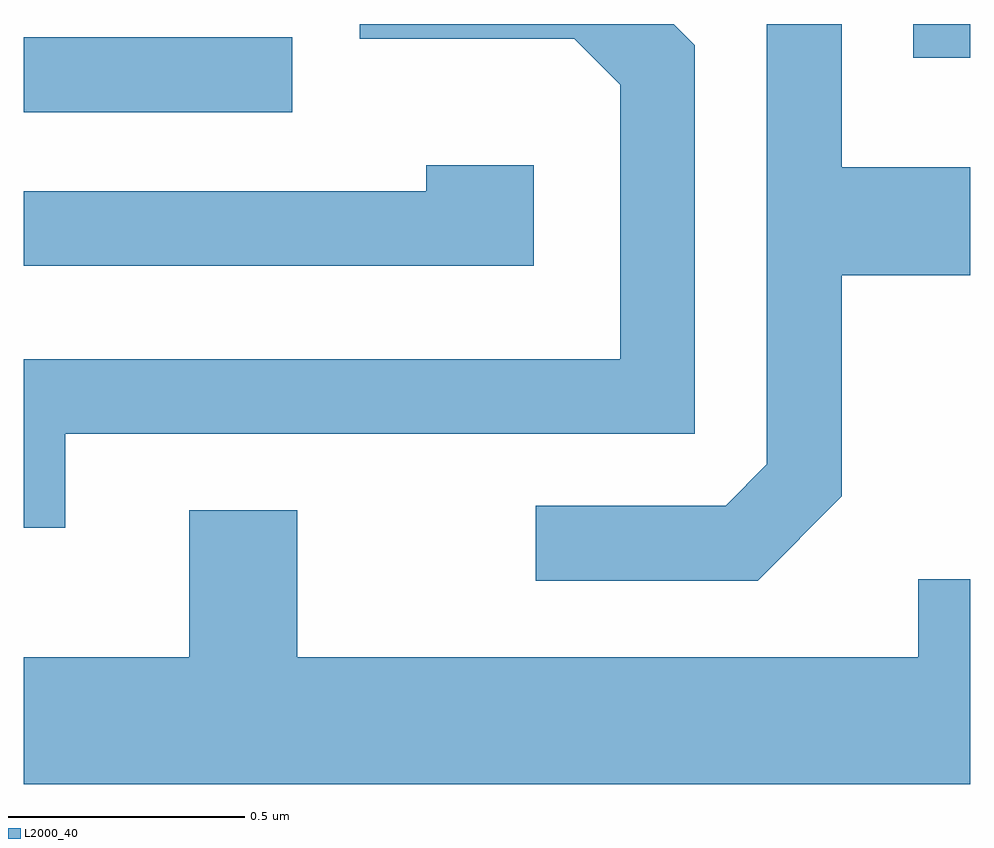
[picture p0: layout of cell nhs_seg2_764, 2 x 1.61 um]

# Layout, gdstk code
import gdstk
lib = gdstk.Library(unit=1e-6, precision=1e-09)
def R(c, l, rs):  # rectangles x0, y0, x1, y1
    for r in rs: c.add(gdstk.rectangle(r[:2], r[2:], *l))
def P(c, l, *ps):  # polygons
    for p in ps: c.add(gdstk.Polygon(p, *l))
L2000_40 = (2000, 40)

nhs_seg2_764 = lib.new_cell('nhs_seg2_764')
R(nhs_seg2_764, L2000_40, [(190.611,1058.616,191.178,1058.774), (192.491,1058.731,192.611,1058.802)])
P(nhs_seg2_764, L2000_40, [(190.699,1057.936),(192.029,1057.936),(192.029,1058.757),(191.984,1058.802),(191.321,1058.802),(191.321,1058.771),(191.774,1058.771),(191.871,1058.674),(191.871,1058.094),(190.611,1058.094),(190.611,1057.738),(190.699,1057.738)],
  [(192.339,1057.804),(192.339,1058.271),(192.611,1058.271),(192.611,1058.499),(192.339,1058.499),(192.339,1058.802),(192.181,1058.802),(192.181,1057.872),(192.094,1057.784),(191.693,1057.784),(191.693,1057.626),(192.162,1057.626)],
  [(191.689,1058.504),(191.461,1058.504),(191.461,1058.449),(190.611,1058.449),(190.611,1058.291),(191.689,1058.291)],
  [(192.611,1057.629),(192.501,1057.629),(192.501,1057.464),(191.189,1057.464),(191.189,1057.774),(190.961,1057.774),(190.961,1057.464),(190.611,1057.464),(190.611,1057.196),(192.611,1057.196)])

lib.write_gds('nhs_seg2_764.gds')
